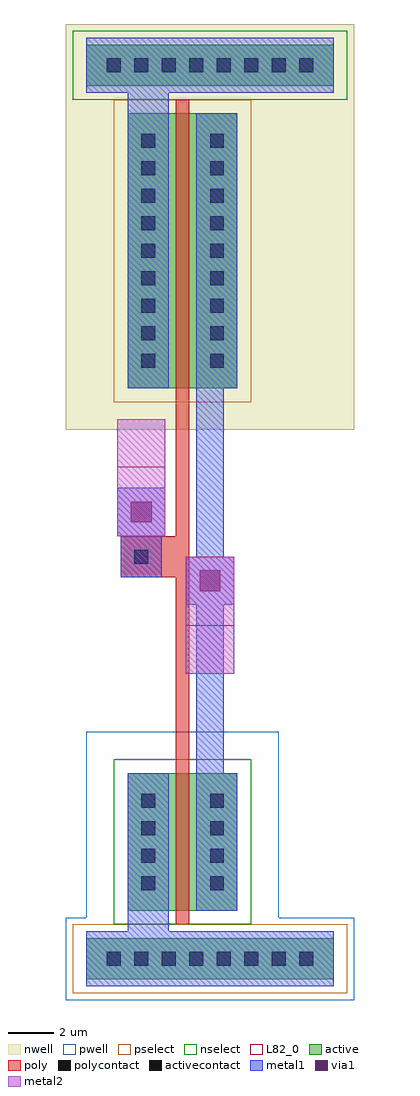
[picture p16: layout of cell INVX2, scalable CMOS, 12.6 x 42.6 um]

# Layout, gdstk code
import gdstk
lib = gdstk.Library(unit=1e-6, precision=1e-09)
def R(c, l, rs):  # rectangles x0, y0, x1, y1
    for r in rs: c.add(gdstk.rectangle(r[:2], r[2:], *l))
def A(c, l, x, y, w, h, nx, ny, dx, dy):  # array of equal rectangles
    R(c, l, [(x+i*dx, y+j*dy, x+i*dx+w, y+j*dy+h) for i in range(nx) for j in range(ny)])
pwell = (41, 0)
nwell = (42, 0)
active = (43, 0)
pselect = (44, 0)
nselect = (45, 0)
poly = (46, 0)
polycontact = (47, 0)
activecontact = (48, 0)
metal1 = (49, 0)
via1 = (50, 0)
metal2 = (51, 0)
L82_0 = (82, 0)

invx2 = lib.new_cell('INVX2')
R(invx2, pwell, [(-1.8,-1.8,10.8,1.8), (-0.9,1.8,7.5,9.9)])
R(invx2, nwell, [(-1.8,23.1,10.8,40.8)])
R(invx2, active, [(-0.9,-0.9,9.9,0.9), (0.9,2.1,5.7,8.1), (0.9,24.9,5.7,36.9), (-0.9,38.1,9.9,39.9)])
R(invx2, pselect, [(-1.5,-1.5,10.5,1.5), (0.3,24.3,6.3,37.5)])
R(invx2, nselect, [(0.3,1.5,6.3,8.7), (-1.5,37.5,10.5,40.5)])
R(invx2, poly, [(3,1.5,3.6,16.65), (0.6,16.65,3.6,18.45), (3,18.45,3.6,37.5)])
R(invx2, polycontact, [(1.2,17.25,1.8,17.85)])
A(invx2, activecontact, 0, -0.3, 0.6, 0.6, 8, 2, 1.2, 39)
A(invx2, activecontact, 1.5, 3, 0.6, 0.6, 1, 4, 0, 1.2)
A(invx2, activecontact, 4.5, 3, 0.6, 0.6, 1, 4, 0, 1.2)
A(invx2, activecontact, 1.5, 25.8, 0.6, 0.6, 1, 9, 0, 1.2)
A(invx2, activecontact, 4.5, 25.8, 0.6, 0.6, 1, 9, 0, 1.2)
R(invx2, metal1, [(-0.9,-1.2,9.9,1.2), (0.9,1.2,2.7,8.1), (3.9,2.1,5.7,8.1), (3.9,8.1,5.1,15.45), (3.45,15.45,5.55,17.55), (0.6,16.65,2.4,18.45), (3.9,17.55,5.1,24.9), (0.45,18.45,2.55,20.55), (0.9,24.9,2.7,37.8), (3.9,24.9,5.7,36.9), (-0.9,37.8,9.9,40.2)])
R(invx2, via1, [(4.05,16.05,4.95,16.95), (1.05,19.05,1.95,19.95)])
R(invx2, metal2, [(3.45,12.45,5.55,17.55), (0.45,18.45,2.55,23.55)])
R(invx2, L82_0, [(3.45,12.45,5.55,14.55), (0.45,21.45,2.55,23.55)])

lib.write_gds('INVX2.gds')
